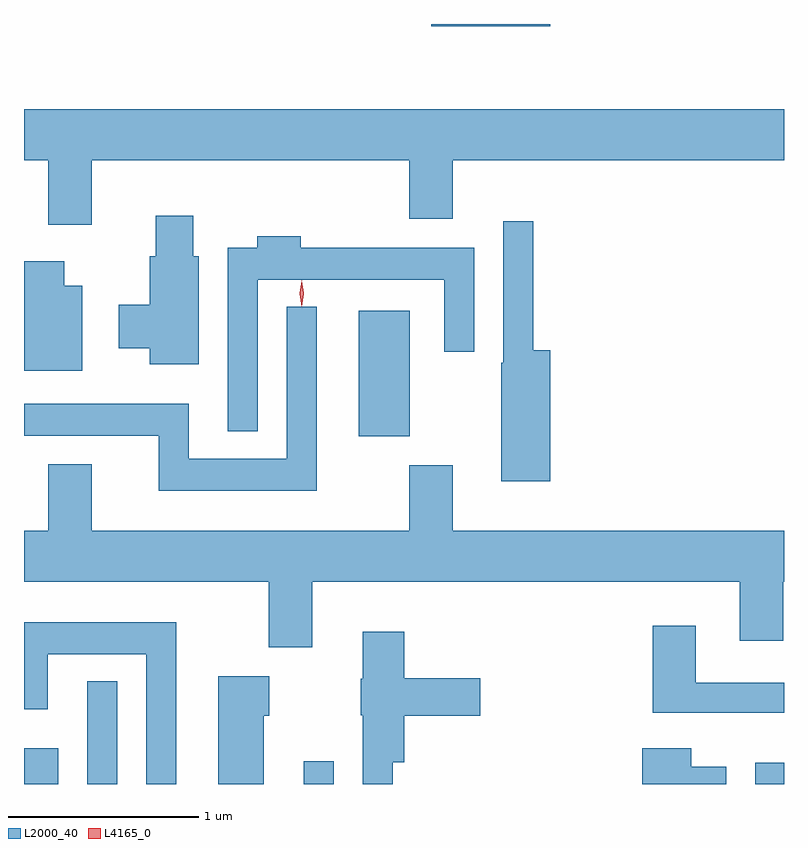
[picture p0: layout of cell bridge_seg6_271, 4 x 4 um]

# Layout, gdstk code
import gdstk
lib = gdstk.Library(unit=1e-6, precision=1e-09)
def R(c, l, rs):  # rectangles x0, y0, x1, y1
    for r in rs: c.add(gdstk.rectangle(r[:2], r[2:], *l))
def P(c, l, *ps):  # polygons
    for p in ps: c.add(gdstk.Polygon(p, *l))
L2000_40 = (2000, 40)
L4165_0 = (4165, 0)

bridge_seg6_271 = lib.new_cell('bridge_seg6_271')
R(bridge_seg6_271, L2000_40, [(1315.353,1553.412,1315.534,1553.599), (1315.686,1553.412,1315.844,1553.953), (1316.826,1553.412,1316.984,1553.533), (1319.201,1553.412,1319.353,1553.524), (1317.116,1555.241,1317.384,1555.904), (1317.496,1557.401,1318.124,1557.412)])
P(bridge_seg6_271, L2000_40, [(1315.709,1556.696),(1317.381,1556.696),(1317.381,1556.386),(1317.609,1556.386),(1317.609,1556.696),(1319.353,1556.696),(1319.353,1556.964),(1315.353,1556.964),(1315.353,1556.696),(1315.481,1556.696),(1315.481,1556.356),(1315.709,1556.356)],
  [(1316.274,1556.189),(1316.244,1556.189),(1316.244,1556.404),(1316.046,1556.404),(1316.046,1556.189),(1316.016,1556.189),(1316.016,1555.934),(1315.851,1555.934),(1315.851,1555.706),(1316.016,1555.706),(1316.016,1555.621),(1316.274,1555.621)],
  [(1318.124,1555.694),(1318.034,1555.694),(1318.034,1556.373),(1317.876,1556.373),(1317.876,1555.63),(1317.866,1555.63),(1317.866,1555.006),(1318.124,1555.006)],
  [(1316.584,1556.066),(1317.566,1556.066),(1317.566,1555.688),(1317.724,1555.688),(1317.724,1556.234),(1316.809,1556.234),(1316.809,1556.294),(1316.581,1556.294),(1316.581,1556.234),(1316.426,1556.234),(1316.426,1555.268),(1316.584,1555.268)],
  [(1315.659,1556.034),(1315.564,1556.034),(1315.564,1556.164),(1315.353,1556.164),(1315.353,1555.586),(1315.659,1555.586)],
  [(1316.894,1555.923),(1316.736,1555.923),(1316.736,1555.124),(1316.219,1555.124),(1316.219,1555.414),(1315.353,1555.414),(1315.353,1555.246),(1316.061,1555.246),(1316.061,1554.956),(1316.894,1554.956)],
  [(1316.869,1554.476),(1319.121,1554.476),(1319.121,1554.166),(1319.349,1554.166),(1319.349,1554.476),(1319.353,1554.476),(1319.353,1554.744),(1317.609,1554.744),(1317.609,1555.089),(1317.381,1555.089),(1317.381,1554.744),(1315.709,1554.744),(1315.709,1555.094),(1315.481,1555.094),(1315.481,1554.744),(1315.353,1554.744),(1315.353,1554.476),(1316.641,1554.476),(1316.641,1554.131),(1316.869,1554.131)],
  [(1316.154,1554.264),(1315.353,1554.264),(1315.353,1553.806),(1315.479,1553.806),(1315.479,1554.096),(1315.996,1554.096),(1315.996,1553.412),(1316.154,1553.412)],
  [(1319.353,1553.944),(1318.889,1553.944),(1318.889,1554.244),(1318.661,1554.244),(1318.661,1553.786),(1319.353,1553.786)],
  [(1317.294,1553.526),(1317.354,1553.526),(1317.354,1553.771),(1317.754,1553.771),(1317.754,1553.969),(1317.354,1553.969),(1317.354,1554.214),(1317.136,1554.214),(1317.136,1553.965),(1317.126,1553.965),(1317.126,1553.775),(1317.136,1553.775),(1317.136,1553.412),(1317.294,1553.412)],
  [(1316.614,1553.771),(1316.644,1553.771),(1316.644,1553.979),(1316.376,1553.979),(1316.376,1553.412),(1316.614,1553.412)],
  [(1319.049,1553.504),(1318.864,1553.504),(1318.864,1553.599),(1318.606,1553.599),(1318.606,1553.412),(1319.049,1553.412)])
P(bridge_seg6_271, L4165_0, [(1316.814,1555.927),(1316.805,1555.994),(1316.814,1556.06),(1316.815,1556.061),(1316.815,1556.06),(1316.825,1555.994),(1316.815,1555.927),(1316.815,1555.927)],
  [(1316.814,1555.924),(1316.805,1555.993),(1316.815,1556.062),(1316.816,1556.063),(1316.816,1556.062),(1316.825,1555.993),(1316.815,1555.924),(1316.815,1555.924)])

lib.write_gds('bridge_seg6_271.gds')
